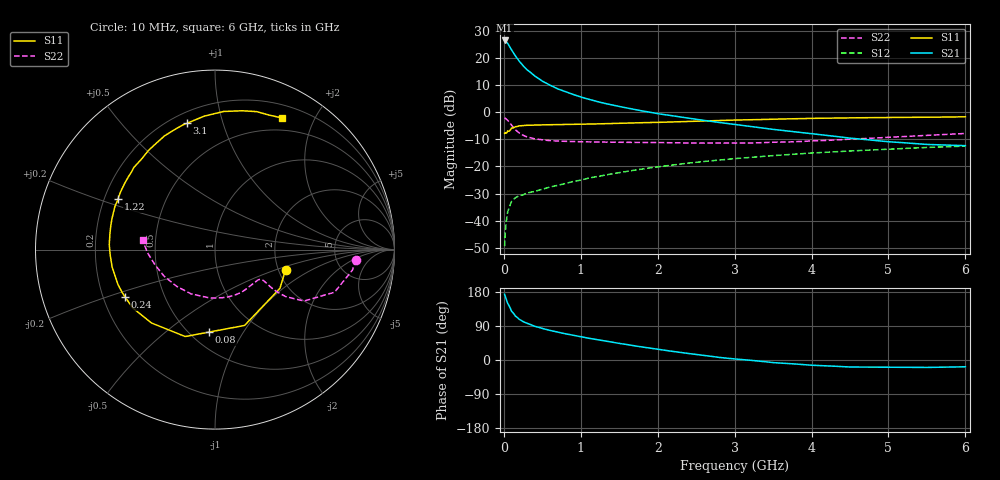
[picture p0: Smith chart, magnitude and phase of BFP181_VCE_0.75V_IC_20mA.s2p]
! Infineon Technologies  Discrete & RF Semiconductors
! BFP181
! VCE = 0.75V,  IC =  20 mA
! Common Emitter S-Parameters:  Jan 2016
# GHz  S  MA  R  50
!  f  S11  S21  S12  S22
! GHz  MAG  ANG  MAG  ANG  MAG  ANG  MAG  ANG
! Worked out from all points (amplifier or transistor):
!   210 points, 10 MHz to 6 GHz, reference 50 ohm
!   highest |S21| = 26.5 dB at 10 MHz (marker M1)
!   |S21| within 3 dB of that: start of sweep to 89.6 MHz
!   unconditionally stable (mu >= 1): start of sweep to 30.24 MHz; 182.6 MHz to end of sweep
!   at 185 MHz: K = 1.01, MAG = 24.6 dB, |S12| = -31.0 dB
!   at 1.52 GHz: K = 2.73, MAG = 4.9 dB, |S12| = -22.1 dB
!   at 6 GHz: K = 2.53, MAG = -6.8 dB, |S12| = -12.5 dB
!   S11 on the Smith chart (normalised r, x): 10 MHz: 2.19, -0.59; 80 MHz: 0.62, -0.72; 240 MHz: 0.29, -0.23; 1.22 GHz: 0.26, +0.23; 3.1 GHz: 0.26, +0.77; 6 GHz: 0.35, +1.58
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0.01  0.4088 -15.8  21.03 173.5  0.0034 72.0  0.7889 -4.1
0.02  0.4213 -30.8  20.73 167.3  0.0065 74.6  0.774 -8.5
0.05  0.4536 -68.7  18.66 149.5  0.0146 63.8  0.7073 -19.6
0.08  0.4609 -94.2  15.69 138.5  0.0193 53.1  0.6242 -25.3
0.1  0.5119 -108.9  14.13 128.9  0.0226 48.5  0.573 -30.0
0.15  0.5409 -130.9  10.92 116.0  0.0265 41.9  0.474 -33.6
0.2  0.5613 -144.5  8.72 107.4  0.029 38.8  0.4145 -34.3
0.24  0.5662 -152.0  7.477 102.6  0.0298 38.3  0.3835 -34.1
0.26  0.5695 -155.1  6.958 100.3  0.0305 38.4  0.3709 -33.9
0.3  0.5747 -160.4  6.099 96.7  0.0324 39.0  0.3515 -33.4
0.4  0.5812 -170.2  4.667 89.0  0.0347 40.8  0.3237 -32.6
0.5  0.585 -177.3  3.74 83.1  0.0381 42.5  0.3092 -32.8
0.6  0.5898 177.2  3.151 78.0  0.0418 44.7  0.2994 -33.7
0.7  0.5918 172.0  2.697 73.5  0.045 47.0  0.2938 -34.9
1.02  0.6034 159.3  1.872 60.6  0.057 50.4  0.2856 -40.8
1.22  0.6096 152.3  1.567 53.5  0.0653 50.9  0.2823 -45.6
1.5  0.6244 143.8  1.276 43.6  0.0772 51.2  0.2797 -52.6
2.02  0.6514 128.3  0.932 27.8  0.0992 49.1  0.2764 -67.4
3.1  0.721 102.5  0.571 1.2  0.1433 40.6  0.2698 -104.0
4.1  0.7732 85.0  0.388 -14.6  0.1803 30.8  0.2986 -139.5
5.1  0.8035 72.1  0.28 -19.2  0.2115 21.2  0.3502 -168.2
6  0.8236 62.9  0.242 -17.9  0.2374 12.0  0.4064 172.7
